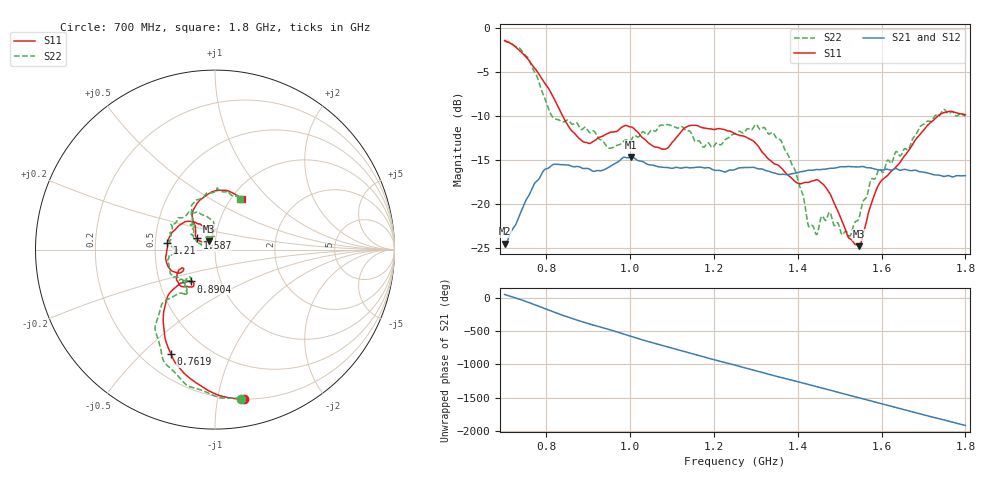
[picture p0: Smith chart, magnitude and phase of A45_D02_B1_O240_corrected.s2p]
! Created with skrf 1.9.0 (http://scikit-rf.org).
# Hz S RI R 50.0
!freq ReS11 ImS11 ReS21 ImS21 ReS12 ImS12 ReS22 ImS22
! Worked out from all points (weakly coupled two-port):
!   1601 points, 700 MHz to 1.8 GHz, reference 50 ohm
!   highest |S21| = -14.67 dB at 1.002 GHz (marker M1); lowest = -24.5 dB at 701.4 MHz (marker M2)
!   lowest |S11| = -24.8 dB at 1.546 GHz (marker M3), VSWR 1.12, Z = 46.4 + j4.21 ohm
!   |S11| at or under -10 dB: 838.6 MHz to 1.734 GHz (895.9 MHz wide, 69.6 % of centre)
!   |S22| runs from -23.7 to -1.5 dB; largest |S21 - S12| = 0.0035
!   S11 on the Smith chart (normalised r, x): 700 MHz: 0.20, -1.19; 761.9 MHz: 0.32, -0.62; 890.4 MHz: 0.72, -0.27; 1.21 GHz: 0.58, +0.05; 1.587 GHz: 0.81, +0.10; 1.8 GHz: 1.12, +0.71
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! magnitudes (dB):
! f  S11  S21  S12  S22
! 700 MHz  -1.4  -24.5  -24.3  -1.5
! 701.4 MHz  -1.4  -24.5  -24.2  -1.5
! 761.9 MHz  -4.0  -18.7  -18.6  -4.0
! 814.1 MHz  -7.7  -15.6  -15.6  -10.1
! 883.6 MHz  -12.8  -15.9  -15.8  -11.6
! 890.4 MHz  -13.0  -16.0  -16.0  -11.3
! 950.2 MHz  -11.9  -15.8  -15.8  -13.7
! 1.002 GHz  -11.3  -14.7  -14.8  -12.7
! 1.067 GHz  -13.6  -15.8  -15.7  -11.3
! 1.14 GHz  -11.1  -15.9  -15.9  -11.7
! 1.21 GHz  -11.4  -16.2  -16.2  -13.2
! 1.25 GHz  -12.0  -16.1  -16.0  -12.0
! 1.3 GHz  -13.2  -16.0  -15.9  -11.0
! 1.359 GHz  -15.9  -16.7  -16.6  -12.8
! 1.434 GHz  -17.4  -16.2  -16.2  -22.5
! 1.476 GHz  -18.8  -16.0  -16.0  -21.0
! 1.524 GHz  -24.0  -15.8  -15.8  -23.7
! 1.546 GHz  -24.8  -15.8  -15.8  -21.6
! 1.587 GHz  -18.5  -16.1  -16.1  -16.9
! 1.617 GHz  -16.6  -16.1  -16.1  -15.1
! 1.736 GHz  -9.9  -16.7  -16.8  -10.0
! 1.8 GHz  -9.9  -16.8  -16.8  -10.0
